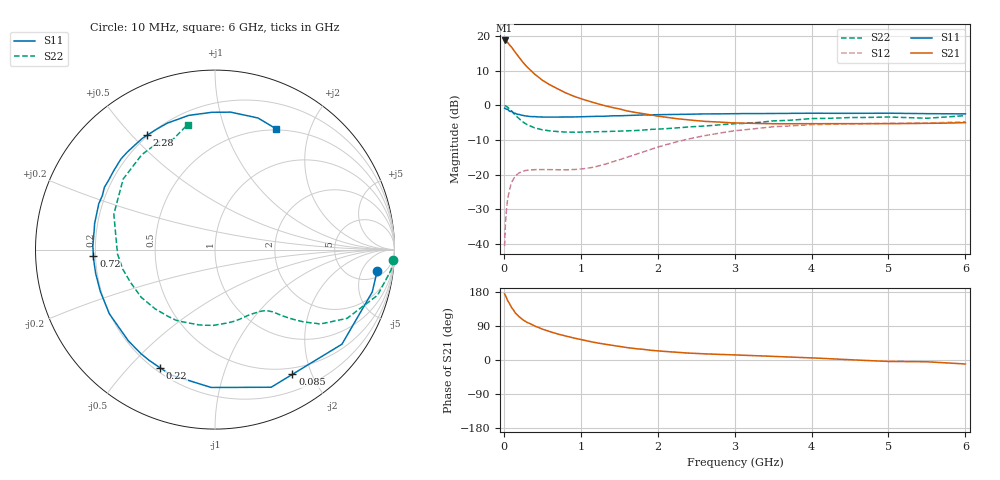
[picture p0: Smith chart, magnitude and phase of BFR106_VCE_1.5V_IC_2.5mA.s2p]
! Infineon Technologies  Discrete & RF Semiconductors
! BFR106
! VCE =  1.5 V,  IC =  2.5 mA
! Common Emitter S-Parameters:  Nov 2015
# GHz  S  MA  R  50
!  f  S11  S21  S12  S22
! GHz  MAG  ANG  MAG  ANG  MAG  ANG  MAG  ANG
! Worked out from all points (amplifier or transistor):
!   210 points, 10 MHz to 6 GHz, reference 50 ohm
!   highest |S21| = 18.8 dB at 10 MHz (marker M1)
!   |S21| within 3 dB of that: start of sweep to 133.9 MHz
!   unconditionally stable (mu >= 1): 732.6 MHz to 2.571 GHz; 2.637 GHz to end of sweep
!   at 185 MHz: K = 0.28, MSG = 17.0 dB, |S12| = -19.8 dB
!   at 1.52 GHz: K = 1.24, MAG = 4.3 dB, |S12| = -15.6 dB
!   at 6 GHz: K = 1.03, MAG = -1.1 dB, |S12| = -4.8 dB
!   S11 on the Smith chart (normalised r, x): 10 MHz: 7, -10; 85 MHz: 0.41, -1.72; 220 MHz: 0.22, -0.61; 720 MHz: 0.19, -0.03; 2.28 GHz: 0.20, +0.55; 6 GHz: 0.48, +1.51
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0.01  0.9113 -7.6  8.697 174.6  0.0092 87.1  0.9955 -3.3
0.02  0.9074 -15.1  8.681 170.6  0.0185 83.2  0.9875 -6.6
0.05  0.882 -36.7  8.104 156.6  0.0446 70.0  0.9407 -15.7
0.085  0.8179 -58.2  7.248 144.6  0.067 57.8  0.8588 -23.6
0.1  0.8283 -67.8  6.994 138.7  0.0771 54.8  0.8294 -27.5
0.15  0.7684 -91.6  5.832 123.8  0.0954 43.5  0.7188 -35.2
0.2  0.7404 -109.6  4.918 113.9  0.106 36.5  0.6374 -39.2
0.22  0.726 -115.0  4.611 110.9  0.1084 34.5  0.6112 -40.4
0.26  0.7119 -125.3  4.063 104.4  0.1129 31.0  0.5639 -42.7
0.3  0.7011 -133.5  3.615 99.4  0.1153 28.7  0.5298 -44.3
0.4  0.6888 -148.7  2.836 89.7  0.1179 25.1  0.4735 -47.1
0.5  0.6803 -159.8  2.314 81.5  0.1181 23.8  0.444 -49.9
0.6  0.678 -168.6  1.979 74.6  0.1176 24.5  0.4277 -53.4
0.72  0.6786 -176.9  1.688 67.7  0.1169 26.8  0.4166 -58.3
1.02  0.6864 166.8  1.23 53.0  0.1208 37.1  0.4118 -71.5
1.4  0.7072 150.6  0.936 39.0  0.1503 51.4  0.4223 -91.2
2.02  0.7326 128.8  0.695 23.7  0.253 56.5  0.4552 -125.6
2.28  0.7411 120.6  0.637 19.8  0.3035 53.6  0.4752 -140.2
3.1  0.7608 99.1  0.554 12.7  0.4405 37.3  0.5477 177.9
4.1  0.7694 82.3  0.543 4.7  0.5286 17.1  0.6463 139.4
5.1  0.7685 70.9  0.545 -4.0  0.5513 2.5  0.6743 115.0
6  0.7538 63.3  0.563 -10.5  0.5782 -7.4  0.7121 102.4
